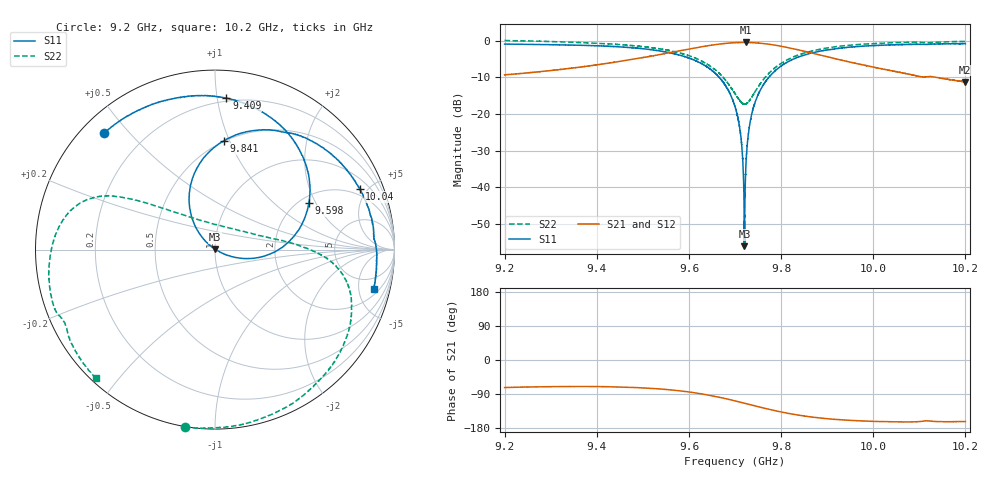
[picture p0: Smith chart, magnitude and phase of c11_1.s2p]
!Agilent Technologies,N5242A,MY51221714,A.09.90.19
!Agilent N5242A: A.09.90.19
!Date: Tuesday, March 26, 2024 15:33:43
!Correction: S11(Full 2 Port(1,2))
!S21(Full 2 Port(1,2))
!S12(Full 2 Port(1,2))
!S22(Full 2 Port(1,2))
!S2P File: Measurements: S11, S21, S12, S22:
# Hz S  dB  R 50
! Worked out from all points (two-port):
!   16001 points, 9.2 GHz to 10.2 GHz, reference 50 ohm
!   highest |S21| = -0.49 dB at 9.723 GHz (marker M1); lowest = -11.3 dB at 10.2 GHz (marker M2)
!   |S21| within 3 dB of the highest: 9.549223 GHz to 9.549287 GHz (63.92 kHz wide, 0.000669 % of centre); 9.549 GHz to 9.87 GHz (320.7 MHz wide, 3.3 % of centre)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
!   lowest |S11| = -56.1 dB at 9.72 GHz (marker M3), VSWR 1.00, Z = 50.1 + j0.11 ohm
!   |S11| at or under -10 dB: 9.666 GHz to 9.773 GHz (107.9 MHz wide, 1.11 % of centre)
!   |S22| runs from -17.4 to 0.0 dB; largest |S21 - S12| = 0.01
!   S11 on the Smith chart (normalised r, x): 9.2 GHz: 0.06, +0.43; 9.409 GHz: 0.18, +1.06; 9.598 GHz: 2.23, +1.76; 9.841 GHz: 0.50, +0.95; 10.04 GHz: 1.55, +4.45; 10.2 GHz: 2.78, -7.18
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9.2e9  -0.95 133.6  -9.33 -72.7  -9.32 -73.4  0.03 -99.5
9.366688e9  -1.28 96.3  -7.18 -70.0  -7.17 -70.5  -0.55 -54.7
9.4095e9  -1.45 85.7  -6.44 -70.3  -6.44 -70.9  -0.78 -43.9
9.533375e9  -2.77 49.9  -3.88 -76.1  -3.87 -76.6  -2.17 -16.1
9.597875e9  -4.67 26.5  -2.35 -84.1  -2.35 -84.6  -4.01 -4.7
9.663062e9  -9.67 -2.7  -1.00 -97.6  -1.00 -98.1  -8.61 8.0
9.7e9  -17.99 -20.8  -0.56 -107.8  -0.56 -108.4  -14.42 32.0
9.710688e9  -24.27 -25.2  -0.51 -111.1  -0.52 -111.6  -16.42 50.2
9.71725e9  -33.70 -26.5  -0.51 -113.0  -0.50 -113.6  -17.19 65.8
9.7205e9  -56.08 44.3  -0.50 -114.1  -0.49 -114.6  -17.33 74.2
9.722938e9  -36.67 136.3  -0.49 -114.8  -0.50 -115.3  -17.29 81.1
9.72775e9  -26.81 139.5  -0.51 -116.3  -0.50 -116.8  -16.89 93.4
9.732375e9  -22.42 138.8  -0.54 -117.7  -0.53 -118.3  -16.16 103.9
9.751062e9  -14.48 128.4  -0.66 -123.4  -0.66 -124.0  -12.44 129.1
9.787312e9  -8.23 110.4  -1.25 -133.8  -1.26 -134.3  -7.37 144.5
9.841062e9  -4.34 85.5  -2.62 -146.0  -2.63 -146.6  -3.75 152.6
9.866688e9  -3.36 75.0  -3.38 -150.5  -3.39 -150.9  -2.83 156.0
9.934375e9  -1.96 51.5  -5.43 -158.1  -5.43 -158.6  -1.43 166.8
1.003338e10  -1.20 23.7  -8.07 -162.8  -8.06 -163.4  -0.62 -173.4
1.0037e10  -1.17 22.8  -8.15 -162.9  -8.16 -163.4  -0.60 -172.6
1.019994e10  -0.80 -13.8  -11.26 -162.4  -11.25 -162.9  -0.22 -133.0
1.02e10  -0.80 -13.8  -11.26 -162.4  -11.26 -162.9  -0.22 -133.0
